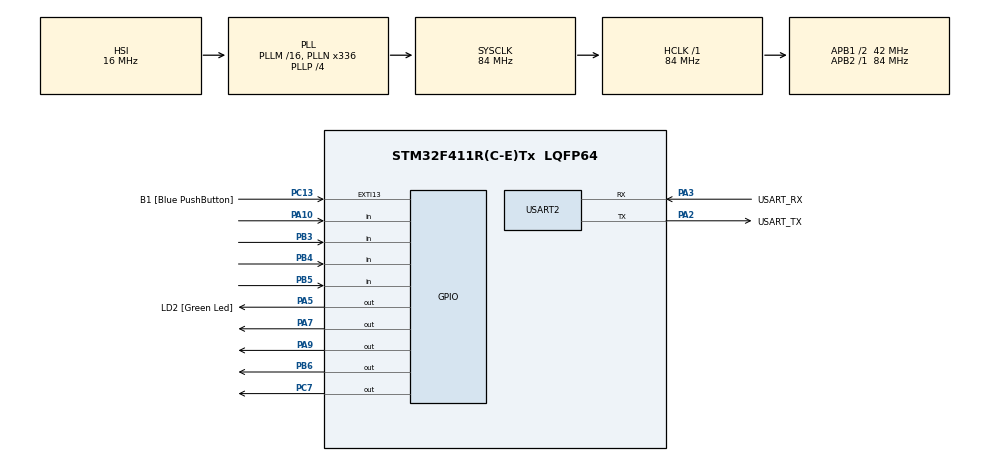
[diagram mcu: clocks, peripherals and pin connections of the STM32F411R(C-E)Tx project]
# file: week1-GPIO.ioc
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Mcu.Family=STM32F4
Mcu.Name=STM32F411R(C-E)Tx
Mcu.Package=LQFP64
NVIC.PriorityGroup=NVIC_PRIORITYGROUP_0
PA10.Signal=GPIO_Input
PA13.GPIO_Label=TMS
PA13.Mode=Serial_Wire
PA13.Signal=SYS_JTMS-SWDIO
PA14.GPIO_Label=TCK
PA14.Mode=Serial_Wire
PA14.Signal=SYS_JTCK-SWCLK
PA2.GPIO_Label=USART_TX
PA2.Mode=Asynchronous
PA2.Signal=USART2_TX
PA3.GPIO_Label=USART_RX
PA3.Mode=Asynchronous
PA3.Signal=USART2_RX
PA5.GPIO_Label=LD2 [Green Led]
PA5.Signal=GPIO_Output
PA7.Signal=GPIO_Output
PA9.Signal=GPIO_Output
PB3.Signal=GPIO_Input
PB4.Signal=GPIO_Input
PB5.Signal=GPIO_Input
PB6.Signal=GPIO_Output
PC13-ANTI_TAMP.GPIO_Label=B1 [Blue PushButton]
PC13-ANTI_TAMP.GPIO_ModeDefaultEXTI=GPIO_MODE_IT_FALLING
PC13-ANTI_TAMP.Signal=GPXTI13
PC14-OSC32_IN.Mode=LSE-External-Oscillator
PC14-OSC32_IN.Signal=RCC_OSC32_IN
PC15-OSC32_OUT.Mode=LSE-External-Oscillator
PC15-OSC32_OUT.Signal=RCC_OSC32_OUT
PC7.Signal=GPIO_Output
PH0\ -\ OSC_IN.Mode=HSE-External-Clock-Source
PH0\ -\ OSC_IN.Signal=RCC_OSC_IN
PH1\ -\ OSC_OUT.Mode=HSE-External-Clock-Source
PH1\ -\ OSC_OUT.Signal=RCC_OSC_OUT
ProjectManager.HeapSize=0x200
ProjectManager.StackSize=0x400
ProjectManager.TargetToolchain=STM32CubeIDE
RCC.48MHZClocksFreq_Value=84000000
RCC.AHBFreq_Value=84000000
RCC.APB1CLKDivider=RCC_HCLK_DIV2
RCC.APB1Freq_Value=42000000
RCC.APB1TimFreq_Value=84000000
RCC.APB2Freq_Value=84000000
RCC.APB2TimFreq_Value=84000000
RCC.CortexFreq_Value=84000000
RCC.FLatency-AdvancedSettings=FLASH_LATENCY_2
RCC.HCLKFreq_Value=84000000
RCC.HSE_VALUE=8000000
RCC.HSI_VALUE=16000000
RCC.PLLN=336
RCC.PLLP=RCC_PLLP_DIV4
RCC.SYSCLKFreq_VALUE=84000000
RCC.SYSCLKSource=RCC_SYSCLKSOURCE_PLLCLK
RCC.VCOOutputFreq_Value=336000000
USART2.VirtualMode=VM_ASYNC
board=NUCLEO-F411RE

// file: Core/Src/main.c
/* USER CODE BEGIN Header */
/**
  ******************************************************************************
  * @file           : main.c
  * @brief          : Main program body
  ******************************************************************************
  * @attention
  *
  * <h2><center>&copy; Copyright (c) 2021 STMicroelectronics.
  * All rights reserved.</center></h2>
  *
  * This software component is licensed by ST under BSD 3-Clause license,
  * the "License"; You may not use this file except in compliance with the
  * License. You may obtain a copy of the License at:
  *                        opensource.org/licenses/BSD-3-Clause
  *
  ******************************************************************************
  */
/* USER CODE END Header */
#include "main.h"

UART_HandleTypeDef huart2;

void SystemClock_Config(void);
static void MX_GPIO_Init(void);
static void MX_USART2_UART_Init(void);

int main(void)
{

  /* MCU Configuration--------------------------------------------------------*/

  /* Reset of all peripherals, Initializes the Flash interface and the Systick. */
  HAL_Init();

  /* Configure the system clock */
  SystemClock_Config();

  /* Initialize all configured peripherals */
  MX_GPIO_Init();
  MX_USART2_UART_Init();
  /* USER CODE BEGIN 2 */
  GPIO_PinState Switch_state[4][2] = {{1,1},{1,1},{1,1},{1,1}};
  uint16_t LED1_Half_Period[4] = {1000,500,250,166},LED2_on_off_time = 500,LED4_on_Periode[5] = {0,5,10,15,20};
  uint32_t LED1_time_stamp = 0,LED2_time_stamp = 0,LED4_time_stamp = 0,button_time_stamp = 0;
  uint8_t mode1 = 0,mode2 = 0,mode4 = 0;
  /* USER CODE END 2 */

  /* Infinite loop */
  /* USER CODE BEGIN WHILE */
  while (1)
  {
	  /*if(HAL_GetTick() - button_time_stamp >= 100){ // mS
		  button_time_stamp = HAL_GetTick();
		  Switch_state[0] = HAL_GPIO_ReadPin(GPIOA, GPIO_PIN_10);
		  if (Switch_state[1] == GPIO_PIN_SET && Switch_state[0] == GPIO_PIN_RESET) {
			  LED1_Half_Period = 750 - LED1_Half_Period;	//change frequency
		  }
		  Switch_state[1] = Switch_state[0];
		  if(HAL_GetTick() - LED1_time_stamp >= LED1_Half_Period){
			  HAL_GPIO_WritePin(GPIOA, GPIO_PIN_9, !HAL_GPIO_ReadPin(GPIOA, GPIO_PIN_9));
			  LED1_time_stamp = HAL_GetTick();
		  }
	  }*/

	  //button read
	  uint8_t switch_trigger[4] = {0};
	  if(HAL_GetTick() - button_time_stamp >= 100){
		  button_time_stamp = HAL_GetTick();
		  Switch_state[0][0] = HAL_GPIO_ReadPin(GPIOA, GPIO_PIN_10);
		  Switch_state[1][0] = HAL_GPIO_ReadPin(GPIOB, GPIO_PIN_3);
		  Switch_state[2][0] = HAL_GPIO_ReadPin(GPIOB, GPIO_PIN_5);
		  Switch_state[3][0] = HAL_GPIO_ReadPin(GPIOB, GPIO_PIN_4);
		  for(int i = 0; i < 4;i++){
			  if(Switch_state[i][1] == 0 && Switch_state[i][0] == 1){
				  switch_trigger[i] = 1;
			  }
			  Switch_state[i][1] = Switch_state[i][0];
		  }
	  }

	  //mode 1 start
	  if(switch_trigger[0]){
		  mode1 = (mode1+1)%4;
	  }
	  if(HAL_GetTick() - LED1_time_stamp >= LED1_Half_Period[mode1]){
		  HAL_GPIO_WritePin(GPIOA, GPIO_PIN_9, !HAL_GPIO_ReadPin(GPIOA, GPIO_PIN_9));
		  LED1_time_stamp = HAL_GetTick();
	  }
	  //mode 1 end

	  //mode 2 start
	  if(switch_trigger[1]){
		  mode2 = !mode2;
	  }
	  HAL_GPIO_WritePin(GPIOC, GPIO_PIN_7, mode2);
	  //mode 2 end

	  //mode 3 start
	  if(switch_trigger[2]){
		  LED2_on_off_time = 2000-LED2_on_off_time;
	  }
	  if(HAL_GetTick() - LED2_time_stamp >= LED2_on_off_time ){
		  HAL_GPIO_WritePin(GPIOB, GPIO_PIN_6, !HAL_GPIO_ReadPin(GPIOB, GPIO_PIN_6));
		  LED2_time_stamp = HAL_GetTick();
		  LED2_on_off_time = 2000-LED2_on_off_time;//switch between 0.5 and 1.5s
	  }
	  //mode 3 end

	  //mode 4 start (50 Hz)
	  if(switch_trigger[3]){
		  mode4 = (mode4+1)%5;
	  }
	  uint8_t delay = LED4_on_Periode[mode4];
	  if(HAL_GPIO_ReadPin(GPIOA, GPIO_PIN_7)){
		  delay = 20-LED4_on_Periode[mode4];
	  }
	  if(HAL_GetTick() - LED4_time_stamp >= delay){
		  HAL_GPIO_WritePin(GPIOA, GPIO_PIN_7,!HAL_GPIO_ReadPin(GPIOA, GPIO_PIN_7));
		  LED4_time_stamp = HAL_GetTick();
	  }
	  //mode 4 end

    /* USER CODE END WHILE */

  }
}

void SystemClock_Config(void)
{
  RCC_OscInitTypeDef RCC_OscInitStruct = {0};
  RCC_ClkInitTypeDef RCC_ClkInitStruct = {0};

  /** Configure the main internal regulator output voltage
  */
  __HAL_RCC_PWR_CLK_ENABLE();
  __HAL_PWR_VOLTAGESCALING_CONFIG(PWR_REGULATOR_VOLTAGE_SCALE1);
  /** Initializes the RCC Oscillators according to the specified parameters
  * in the RCC_OscInitTypeDef structure.
  */
  RCC_OscInitStruct.OscillatorType = RCC_OSCILLATORTYPE_HSI;
  RCC_OscInitStruct.HSIState = RCC_HSI_ON;
  RCC_OscInitStruct.HSICalibrationValue = RCC_HSICALIBRATION_DEFAULT;
  RCC_OscInitStruct.PLL.PLLState = RCC_PLL_ON;
  RCC_OscInitStruct.PLL.PLLSource = RCC_PLLSOURCE_HSI;
  RCC_OscInitStruct.PLL.PLLM = 16;
  RCC_OscInitStruct.PLL.PLLN = 336;
  RCC_OscInitStruct.PLL.PLLP = RCC_PLLP_DIV4;
  RCC_OscInitStruct.PLL.PLLQ = 4;
  if (HAL_RCC_OscConfig(&RCC_OscInitStruct) != HAL_OK)
  {
    Error_Handler();
  }
  /** Initializes the CPU, AHB and APB buses clocks
  */
  RCC_ClkInitStruct.ClockType = RCC_CLOCKTYPE_HCLK|RCC_CLOCKTYPE_SYSCLK
                              |RCC_CLOCKTYPE_PCLK1|RCC_CLOCKTYPE_PCLK2;
  RCC_ClkInitStruct.SYSCLKSource = RCC_SYSCLKSOURCE_PLLCLK;
  RCC_ClkInitStruct.AHBCLKDivider = RCC_SYSCLK_DIV1;
  RCC_ClkInitStruct.APB1CLKDivider = RCC_HCLK_DIV2;
  RCC_ClkInitStruct.APB2CLKDivider = RCC_HCLK_DIV1;

  if (HAL_RCC_ClockConfig(&RCC_ClkInitStruct, FLASH_LATENCY_2) != HAL_OK)
  {
    Error_Handler();
  }
}

static void MX_USART2_UART_Init(void)
{

  huart2.Instance = USART2;
  huart2.Init.BaudRate = 115200;
  huart2.Init.WordLength = UART_WORDLENGTH_8B;
  huart2.Init.StopBits = UART_STOPBITS_1;
  huart2.Init.Parity = UART_PARITY_NONE;
  huart2.Init.Mode = UART_MODE_TX_RX;
  huart2.Init.HwFlowCtl = UART_HWCONTROL_NONE;
  huart2.Init.OverSampling = UART_OVERSAMPLING_16;
  if (HAL_UART_Init(&huart2) != HAL_OK)
  {
    Error_Handler();
  }

}

static void MX_GPIO_Init(void)
{
  GPIO_InitTypeDef GPIO_InitStruct = {0};

  /* GPIO Ports Clock Enable */
  __HAL_RCC_GPIOC_CLK_ENABLE();
  __HAL_RCC_GPIOH_CLK_ENABLE();
  __HAL_RCC_GPIOA_CLK_ENABLE();
  __HAL_RCC_GPIOB_CLK_ENABLE();

  /*Configure GPIO pin Output Level */
  HAL_GPIO_WritePin(GPIOA, LD2_Pin|GPIO_PIN_7|GPIO_PIN_9, GPIO_PIN_RESET);

  /*Configure GPIO pin Output Level */
  HAL_GPIO_WritePin(GPIOC, GPIO_PIN_7, GPIO_PIN_RESET);

  /*Configure GPIO pin Output Level */
  HAL_GPIO_WritePin(GPIOB, GPIO_PIN_6, GPIO_PIN_RESET);

  /*Configure GPIO pin : B1_Pin */
  GPIO_InitStruct.Pin = B1_Pin;
  GPIO_InitStruct.Mode = GPIO_MODE_IT_FALLING;
  GPIO_InitStruct.Pull = GPIO_NOPULL;
  HAL_GPIO_Init(B1_GPIO_Port, &GPIO_InitStruct);

  /*Configure GPIO pins : LD2_Pin PA7 PA9 */
  GPIO_InitStruct.Pin = LD2_Pin|GPIO_PIN_7|GPIO_PIN_9;
  GPIO_InitStruct.Mode = GPIO_MODE_OUTPUT_PP;
  GPIO_InitStruct.Pull = GPIO_NOPULL;
  GPIO_InitStruct.Speed = GPIO_SPEED_FREQ_LOW;
  HAL_GPIO_Init(GPIOA, &GPIO_InitStruct);

  /*Configure GPIO pin : PC7 */
  GPIO_InitStruct.Pin = GPIO_PIN_7;
  GPIO_InitStruct.Mode = GPIO_MODE_OUTPUT_PP;
  GPIO_InitStruct.Pull = GPIO_NOPULL;
  GPIO_InitStruct.Speed = GPIO_SPEED_FREQ_LOW;
  HAL_GPIO_Init(GPIOC, &GPIO_InitStruct);

  /*Configure GPIO pin : PA10 */
  GPIO_InitStruct.Pin = GPIO_PIN_10;
  GPIO_InitStruct.Mode = GPIO_MODE_INPUT;
  GPIO_InitStruct.Pull = GPIO_NOPULL;
  HAL_GPIO_Init(GPIOA, &GPIO_InitStruct);

  /*Configure GPIO pins : PB3 PB4 PB5 */
  GPIO_InitStruct.Pin = GPIO_PIN_3|GPIO_PIN_4|GPIO_PIN_5;
  GPIO_InitStruct.Mode = GPIO_MODE_INPUT;
  GPIO_InitStruct.Pull = GPIO_NOPULL;
  HAL_GPIO_Init(GPIOB, &GPIO_InitStruct);

  /*Configure GPIO pin : PB6 */
  GPIO_InitStruct.Pin = GPIO_PIN_6;
  GPIO_InitStruct.Mode = GPIO_MODE_OUTPUT_PP;
  GPIO_InitStruct.Pull = GPIO_NOPULL;
  GPIO_InitStruct.Speed = GPIO_SPEED_FREQ_LOW;
  HAL_GPIO_Init(GPIOB, &GPIO_InitStruct);

}

void Error_Handler(void)
{
  __disable_irq();
  while (1)
  {
  }
}

/************************ (C) COPYRIGHT STMicroelectronics *****END OF FILE****/
